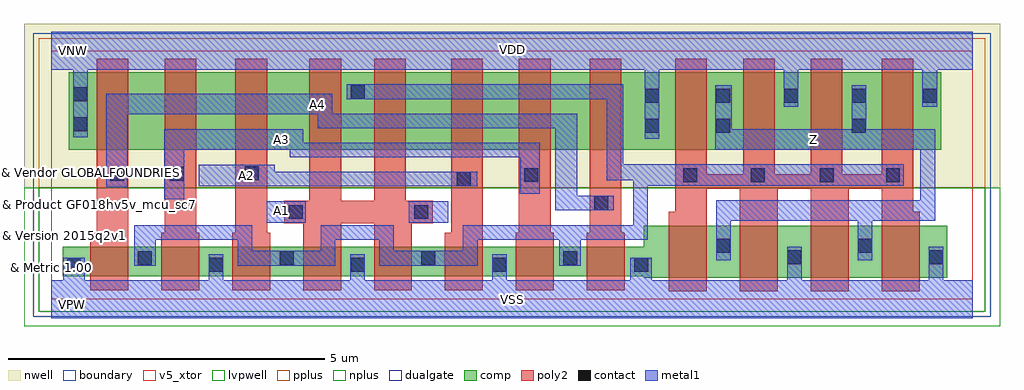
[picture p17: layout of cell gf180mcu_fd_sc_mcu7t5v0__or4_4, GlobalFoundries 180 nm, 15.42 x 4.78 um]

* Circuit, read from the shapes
.subckt gf180mcu_fd_sc_mcu7t5v0__or4_4 A1 A2 A3 A4 VDD VNW VSS Z
XM1 n1 A4 VSS VSUBS nfet_05v0 w=0.465u l=0.6u m=2
XM2 VSS A3 n1 VSUBS nfet_05v0 w=0.465u l=0.6u m=2
XM3 n1 A2 VSS VSUBS nfet_05v0 w=0.465u l=0.6u m=2
XM4 VSS A1 n1 VSUBS nfet_05v0 w=0.465u l=0.6u m=2
XM5 Z n1 VSS VSUBS nfet_05v0 w=0.82u l=0.6u m=4
XM6 n2 A4 VDD VNW pfet_05v0 w=1.22u l=0.5u
XM7 n3 A3 n2 VNW pfet_05v0 w=1.22u l=0.5u
XM8 n4 A2 n3 VNW pfet_05v0 w=1.22u l=0.5u
XM9 n1 A1 n4 VNW pfet_05v0 w=1.22u l=0.5u
XM10 n5 A1 n1 VNW pfet_05v0 w=1.22u l=0.5u
XM11 n6 A2 n5 VNW pfet_05v0 w=1.22u l=0.5u
XM12 n7 A3 n6 VNW pfet_05v0 w=1.22u l=0.5u
XM13 VDD A4 n7 VNW pfet_05v0 w=1.22u l=0.5u
XM14 Z n1 VDD VNW pfet_05v0 w=1.22u l=0.5u m=4
.ends

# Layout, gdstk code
import gdstk
lib = gdstk.Library(unit=1e-6, precision=5e-10)
def R(c, l, rs):  # rectangles x0, y0, x1, y1
    for r in rs: c.add(gdstk.rectangle(r[:2], r[2:], *l))
def A(c, l, x, y, w, h, nx, ny, dx, dy):  # array of equal rectangles
    R(c, l, [(x+i*dx, y+j*dy, x+i*dx+w, y+j*dy+h) for i in range(nx) for j in range(ny)])
def P(c, l, *ps):  # polygons
    for p in ps: c.add(gdstk.Polygon(p, *l))
boundary = (0, 0)
nwell = (21, 0)
comp = (22, 0)
poly2 = (30, 0)
pplus = (31, 0)
nplus = (32, 0)
contact = (33, 0)
metal1 = (34, 0)
dualgate = (55, 0)
v5_xtor = (112, 1)
lvpwell = (204, 0)

gf180mcu_fd_sc_mcu7t5v0_ = lib.new_cell('gf180mcu_fd_sc_mcu7t5v0__or4_4')
R(gf180mcu_fd_sc_mcu7t5v0_, boundary, [(0,0,14.56,3.92)])
R(gf180mcu_fd_sc_mcu7t5v0_, nwell, [(-0.43,1.76,14.99,4.35)])
R(gf180mcu_fd_sc_mcu7t5v0_, comp, [(0.28,2.36,14.06,3.58)])
P(gf180mcu_fd_sc_mcu7t5v0_, comp, [(9.36,0.34),(9.36,0.36),(0.18,0.36),(0.18,0.825),(9.36,0.825),(9.36,1.16),(14.16,1.16),(14.16,0.34)])
P(gf180mcu_fd_sc_mcu7t5v0_, poly2, [(0.62,0.14),(0.62,1.045),(0.72,1.045),(0.72,3.8),(1.22,3.8),(1.22,0.14)],
  [(1.74,0.14),(1.74,1.045),(1.79,1.045),(1.79,3.8),(2.29,3.8),(2.29,1.045),(2.34,1.045),(2.34,0.14)],
  [(2.86,0.14),(2.86,1.045),(2.91,1.045),(2.91,3.8),(3.41,3.8),(3.41,1.045),(3.46,1.045),(3.46,0.14)],
  [(3.98,0.14),(3.98,1.195),(3.685,1.195),(3.685,1.555),(4.08,1.555),(4.08,3.8),(4.58,3.8),(4.58,1.555),(5.1,1.555),(5.1,3.8),(5.6,3.8),(5.6,1.555),(6.025,1.555),(6.025,1.195),(5.7,1.195),(5.7,0.14),(5.1,0.14),(5.1,1.195),(4.58,1.195),(4.58,0.14)],
  [(6.22,0.14),(6.22,1.045),(6.32,1.045),(6.32,3.8),(6.82,3.8),(6.82,0.14)],
  [(7.34,0.14),(7.34,1.045),(7.39,1.045),(7.39,3.8),(7.89,3.8),(7.89,1.045),(7.94,1.045),(7.94,0.14)],
  [(8.46,0.14),(8.46,1.045),(8.51,1.045),(8.51,3.8),(9.01,3.8),(9.01,1.045),(9.06,1.045),(9.06,0.14)],
  [(9.76,0.12),(9.76,1.38),(9.86,1.38),(9.86,3.8),(10.36,3.8),(10.36,1.97),(10.93,1.97),(10.93,3.8),(11.43,3.8),(11.43,1.97),(12,1.97),(12,3.8),(12.5,3.8),(12.5,1.97),(13.12,1.97),(13.12,3.8),(13.62,3.8),(13.62,1.38),(13.72,1.38),(13.72,0.12),(13.12,0.12),(13.12,1.74),(12.6,1.74),(12.6,0.12),(12,0.12),(12,1.74),(11.48,1.74),(11.48,0.12),(10.88,0.12),(10.88,1.74),(10.36,1.74),(10.36,0.12)])
R(gf180mcu_fd_sc_mcu7t5v0_, pplus, [(-0.2,1.76,14.76,4.12)])
R(gf180mcu_fd_sc_mcu7t5v0_, nplus, [(-0.2,-0.2,14.76,1.76)])
A(gf180mcu_fd_sc_mcu7t5v0_, contact, 0.25, 0.43, 0.22, 0.22, 5, 1, 2.24, 0)
A(gf180mcu_fd_sc_mcu7t5v0_, contact, 1.37, 0.535, 0.22, 0.22, 4, 1, 2.24, 0)
A(gf180mcu_fd_sc_mcu7t5v0_, contact, 10.51, 3.1, 0.22, 0.22, 3, 1, 1.07, 0)
R(gf180mcu_fd_sc_mcu7t5v0_, contact, [(11.63,0.55,11.85,0.77), (13.87,0.55,14.09,0.77), (10.51,0.735,10.73,0.955), (12.75,0.735,12.97,0.955), (3.755,1.265,3.975,1.485), (5.735,1.265,5.955,1.485), (8.58,1.405,8.8,1.625), (6.41,1.785,6.63,2.005), (9.985,1.845,10.205,2.065), (11.055,1.845,11.275,2.065), (12.145,1.845,12.365,2.065), (13.19,1.845,13.41,2.065), (7.475,1.85,7.695,2.07), (0.93,1.87,1.15,2.09), (1.87,1.87,2.09,2.09), (3.06,1.88,3.28,2.1), (9.385,2.63,9.605,2.85), (10.51,2.63,10.73,2.85), (12.65,2.63,12.87,2.85), (0.35,2.655,0.57,2.875), (9.385,3.1,9.605,3.32), (13.77,3.1,13.99,3.32), (0.35,3.125,0.57,3.345), (4.73,3.165,4.95,3.385)])
R(gf180mcu_fd_sc_mcu7t5v0_, metal1, [(3.405,1.205,4.025,1.545), (5.645,1.205,6.275,1.545)])
P(gf180mcu_fd_sc_mcu7t5v0_, metal1, [(2.33,1.78),(2.33,2.12),(3.535,2.12),(3.535,2.01),(6.73,2.01),(6.73,1.78)],
  [(1.785,1.575),(1.785,2.68),(3.98,2.68),(3.98,2.47),(7.72,2.47),(7.72,1.665),(7.41,1.665),(7.41,2.24),(3.765,2.24),(3.765,2.36),(2.1,2.36),(2.1,1.575)],
  [(7.96,1.4),(7.96,2.7),(4.21,2.7),(4.21,2.92),(1.21,2.92),(1.21,1.765),(0.87,1.765),(0.87,3.24),(4.44,3.24),(4.44,2.93),(8.31,2.93),(8.31,1.63),(8.885,1.63),(8.885,1.4)],
  [(1.31,0.53),(1.31,1.17),(3.175,1.17),(3.175,0.76),(4.26,0.76),(4.26,1.17),(5.415,1.17),(5.415,0.76),(6.505,0.76),(6.505,1.17),(9.195,1.17),(9.195,1.88),(8.78,1.88),(8.78,3.16),(4.67,3.16),(4.67,3.39),(9.04,3.39),(9.04,2.13),(13.47,2.13),(13.47,1.79),(9.425,1.79),(9.425,0.94),(8.37,0.94),(8.37,0.53),(8.03,0.53),(8.03,0.94),(6.735,0.94),(6.735,0.53),(5.185,0.53),(5.185,0.94),(4.49,0.94),(4.49,0.53),(2.945,0.53),(2.945,0.94),(1.65,0.94),(1.65,0.53)],
  [(10.505,0.615),(10.505,1.56),(13.73,1.56),(13.73,2.36),(10.49,2.36),(10.49,3.38),(10.75,3.38),(10.75,2.68),(12.645,2.68),(12.645,3.38),(12.875,3.38),(12.875,2.68),(13.97,2.68),(13.97,1.24),(12.975,1.24),(12.975,0.615),(12.745,0.615),(12.745,1.24),(10.735,1.24),(10.735,0.615)],
  [(0,-0.3),(0,0.3),(0.19,0.3),(0.19,0.655),(0.53,0.655),(0.53,0.3),(2.485,0.3),(2.485,0.71),(2.715,0.71),(2.715,0.3),(4.725,0.3),(4.725,0.71),(4.955,0.71),(4.955,0.3),(6.965,0.3),(6.965,0.71),(7.195,0.71),(7.195,0.3),(9.15,0.3),(9.15,0.655),(9.49,0.655),(9.49,0.3),(11.625,0.3),(11.625,0.83),(11.855,0.83),(11.855,0.3),(13.865,0.3),(13.865,0.83),(14.095,0.83),(14.095,0.3),(14.56,0.3),(14.56,-0.3)],
  [(9.38,2.53),(9.38,3.62),(0.575,3.62),(0.575,2.555),(0.345,2.555),(0.345,3.62),(0,3.62),(0,4.22),(14.56,4.22),(14.56,3.62),(13.995,3.62),(13.995,3.04),(13.765,3.04),(13.765,3.62),(11.805,3.62),(11.805,3.04),(11.575,3.04),(11.575,3.62),(9.61,3.62),(9.61,2.53)])
R(gf180mcu_fd_sc_mcu7t5v0_, dualgate, [(-0.28,-0.28,14.84,4.2)])
R(gf180mcu_fd_sc_mcu7t5v0_, v5_xtor, [(0,0,14.56,3.92)])
R(gf180mcu_fd_sc_mcu7t5v0_, lvpwell, [(-0.43,-0.43,14.99,1.76)])
gf180mcu_fd_sc_mcu7t5v0_.add(gdstk.Label('A3', (3.64,2.52), layer=34, texttype=10))
gf180mcu_fd_sc_mcu7t5v0_.add(gdstk.Label('A4', (4.2,3.08), layer=34, texttype=10))
gf180mcu_fd_sc_mcu7t5v0_.add(gdstk.Label('VDD', (7.28,3.95), layer=34, texttype=10))
gf180mcu_fd_sc_mcu7t5v0_.add(gdstk.Label('VSS', (7.28,-0.01), layer=34, texttype=10))
gf180mcu_fd_sc_mcu7t5v0_.add(gdstk.Label('Z', (12.04,2.52), layer=34, texttype=10))
gf180mcu_fd_sc_mcu7t5v0_.add(gdstk.Label('A1', (3.64,1.4), layer=34, texttype=10))
gf180mcu_fd_sc_mcu7t5v0_.add(gdstk.Label('A2', (3.08,1.96), layer=34, texttype=10))
gf180mcu_fd_sc_mcu7t5v0_.add(gdstk.Label('& Vendor GLOBALFOUNDRIES', (0,2), layer=63, texttype=63))
gf180mcu_fd_sc_mcu7t5v0_.add(gdstk.Label('& Product GF018hv5v_mcu_sc7', (0,1.5), layer=63, texttype=63))
gf180mcu_fd_sc_mcu7t5v0_.add(gdstk.Label('& Version 2015q2v1', (0,1), layer=63, texttype=63))
gf180mcu_fd_sc_mcu7t5v0_.add(gdstk.Label('& Metric 1.00', (0,0.5), layer=63, texttype=63))
gf180mcu_fd_sc_mcu7t5v0_.add(gdstk.Label('VNW', (0.345,3.92), layer=21, texttype=10))
gf180mcu_fd_sc_mcu7t5v0_.add(gdstk.Label('VPW', (0.34,-0.085), layer=204, texttype=10))

lib.write_gds('gf180mcu_fd_sc_mcu7t5v0__or4_4.gds')
